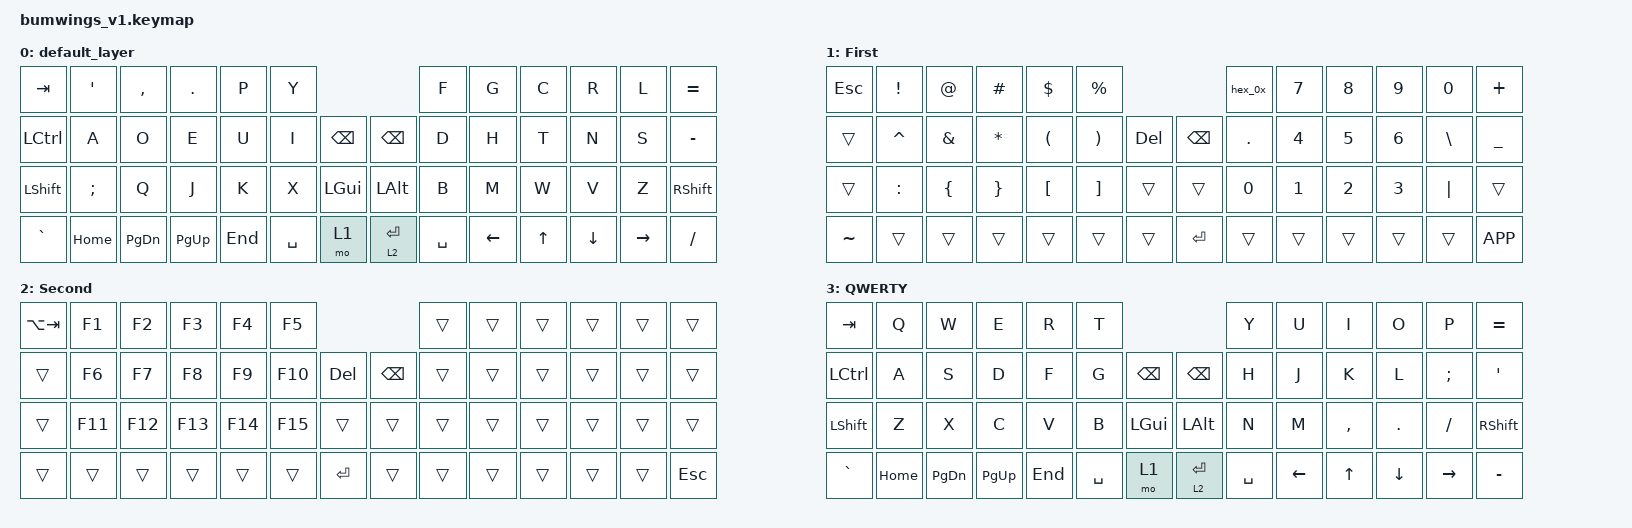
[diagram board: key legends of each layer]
/*
 * Copyright (c) 2020 The ZMK Contributors
 * and (c) 2022 tubbytwins (Matthew A. Schnoor)
 *
 * SPDX-License-Identifier: MIT
 */

#include <behaviors.dtsi>
#include <dt-bindings/zmk/keys.h>


/*
// Keyboard physical layout is roughly defined as follows:
(4 rows x 14 columns - stagger is approximated)
(numbers describe physical key labels, not the order in the array of row/column entries)

		8	12	16	20				32	36	40	44
	4												48	
0		9	13	17	21	25		29	33	37	41	45		52
	5												49
1		10	14	18	22				34	38	42	46		53
	6					26		30					50
2			15								43			54
					23				35
3		7	11	19		27		31		39	47	51		55

(keys 24 and 28 do not exist)
(keys 23 and 35 are 2U thumb keys)
(keys 27 and 31 are 1.5U thumb keys, and keys 26 and 30 are the adjacent 1U thumb keys)
(keys 7,11,15,19 form the left side inverted T-cluster)
(keys 39,43,47,51 form the right side inverted T-cluster)
Switch SW0 is RC(0,0); switch SW1 is RC(1,0); switch SW4 is RC(0,1); etc.

*/

#define DEFAULT 0
#define FIRST 1
#define SECOND 2
#define QWERTY 3


/ {
	macros {
		hex_0x: hex_0x {
			label = "ZM_hex_0x";
			compatible = "zmk,behavior-macro";
			#binding-cells = <0>;
			wait-ms = <5>;
			tap-ms = <5>;
			bindings 
			= <&macro_tap &kp N0 &kp X>;
		};
	};
};

/ {
        keymap {
                compatible = "zmk,keymap";
		label = "Dvorak";
		
                default_layer {
                	bindings = <
//   ---------------------------------------------------------------------------------------------------------
//   |  TAB |  '  |  ,  |  .  |  P  |  Y  |     na     |      na        |  F  |  G  |  C  |  R  |  L  |  =   |
//   | CTRL |  A  |  O  |  E  |  U  |  I  |    BKSP    |     BKSP       |  D  |  H  |  T  |  N  |  S  |  -   |
//   | SHFT |  ;  |  Q  |  J  |  K  |  X  | LGUI (1u)  |  LALT (1u)     |  B  |  M  |  W  |  V  |  Z  | SHFT |
//   |  `   |  HM | PDN | PUP | END | SPC | l1 (1.5u)  |  RET/l2 (1.5u) | SPC | LFT |  UP |  DN | RGT |  /   |
   &kp TAB   &kp SQT  &kp COMMA &kp DOT   &kp P   &kp Y                         &kp F   &kp G &kp C &kp R &kp L &kp EQUAL
   &kp LCTRL &kp A    &kp O     &kp E     &kp U   &kp I     &kp BSPC  &kp BSPC  &kp D   &kp H &kp T &kp N &kp S &kp MINUS
   &kp LSHFT &kp SEMI &kp Q     &kp J     &kp K   &kp X     &kp LGUI  &kp LALT  &kp B   &kp M &kp W &kp V &kp Z &kp RSHFT
   &kp GRAVE &kp HOME &kp PG_DN &kp PG_UP &kp END &kp SPACE &mo 1     &lt 2 RET &kp SPACE &kp LEFT &kp UP &kp DOWN &kp RIGHT &kp SLASH
                        >;
                };

                first_layer {
                label = "First";
                	bindings = <
//   -----------------------------------------------------------------------------------------------------
//   |  ESC |  !  |  @  |  #  |  $  |  %  |     na     |     na     |  0x |  7  |  8  |  9  |  0  |  +   |
//   |      |  ^  |  &  |  *  |  (  |  )  |    DEL     |    BKSP    |  .  |  4  |  5  |  6  |  \  |  _   |
//   |      |  :  |  {  |  }  |  [  |  ]  | LGUI (t1u) | LALT (t1u) |  0  |  1  |  2  |  3  |  |  |      |
//   |  `   |     |     |     |     |     | l1 (self)  |  KP_enter  |     |     |     |     |     | MENU |
   &kp ESC   &kp EXCL  &kp AT   &kp HASH &kp DLLR &kp PRCNT                     &hex_0x &kp N7 &kp N8 &kp N9 &kp N0   &kp PLUS
   &trans    &kp CARET &kp AMPS &kp STAR &kp LPAR &kp RPAR  &kp DEL  &kp BSPC   &kp DOT &kp N4 &kp N5 &kp N6 &kp BSLH &kp UNDER
   &trans    &kp COLON &kp LBRC &kp RBRC &kp LBKT &kp RBKT  &trans   &trans     &kp N0  &kp N1 &kp N2 &kp N3 &kp PIPE &trans
   &kp TILDE &trans    &trans   &trans   &trans   &trans    &trans   &kp RET    &trans  &trans &trans &trans &trans   &kp K_APP

                        >;
                };
                
                second_layer {
                label = "Second";
                	bindings = <
//   -----------------------------------------------------------------------------------------------------
//   | A-Tab|  F1 |  F2 |  F3 |  F4 |  F5 |     na     |     na     |     |     |     |     |     |      |
//   |      |  F6 |  F7 |  F8 |  F9 | F10 |    DEL     |    BSPC    |     |     |     |     |     |      |
//   |      | F11 | F12 | F13 | F14 | F15 |            |            |     |     |     |     |     |      |
//   |      |     |     |     |     |     |    RET     | l2 (self)  |     |     |     |     |     |  ESC |
   &kp LA(TAB)	&kp F1  &kp F2  &kp F3  &kp F4  &kp F5                       &trans  &trans  &trans  &trans &trans    &trans 
   &trans       &kp F6  &kp F7  &kp F8  &kp F9  &kp F10  &kp DEL  &kp BSPC   &trans  &trans  &trans  &trans &trans    &trans 
   &trans       &kp F11 &kp F12 &kp F13 &kp F14 &kp F15  &trans   &trans     &trans  &trans  &trans  &trans &trans    &trans 
   &trans       &trans  &trans  &trans  &trans  &trans   &kp RET  &trans     &trans  &trans  &trans  &trans &trans    &kp ESC 
                	>;
                
                };

                qwerty_layer {
                label = "QWERTY";
                	bindings = <
//   ---------------------------------------------------------------------------------------------------------
//   |  TAB |  Q  |  W  |  E  |  R  |  T  |     na     |      na        |  Y  |  U  |  I  |  O  |  P  |  =   |
//   | CTRL |  A  |  S  |  D  |  F  |  G  |    BKSP    |     BKSP       |  H  |  J  |  K  |  L  |  ;  |  '   |
//   | SHFT |  Z  |  X  |  C  |  V  |  B  | LGUI (1u)  |  LALT (1u)     |  N  |  M  |  ,  |  .  |  /  | SHFT |
//   |  `   |  HM | PDN | PUP | END | SPC | l1 (1.5u)  |  RET/l2 (1.5u) | SPC | LFT |  UP |  DN | RGT |  -   |

   &kp TAB    &kp Q    &kp W     &kp E     &kp R   &kp T                         &kp Y     &kp U    &kp I     &kp O    &kp P     &kp EQUAL
   &kp LCTRL  &kp A    &kp S     &kp D     &kp F   &kp G     &kp BSPC  &kp BSPC  &kp H     &kp J    &kp K     &kp L    &kp SEMI  &kp SQT
   &kp LSHFT  &kp Z    &kp X     &kp C     &kp V   &kp B     &kp LGUI  &kp LALT  &kp N     &kp M    &kp COMMA &kp DOT  &kp SLASH &kp RSHFT
   &kp GRAVE  &kp HOME &kp PG_DN &kp PG_UP &kp END &kp SPACE &mo 1     &lt 2 RET &kp SPACE &kp LEFT &kp UP    &kp DOWN &kp RIGHT &kp MINUS
                        >;
                };

        };
};
